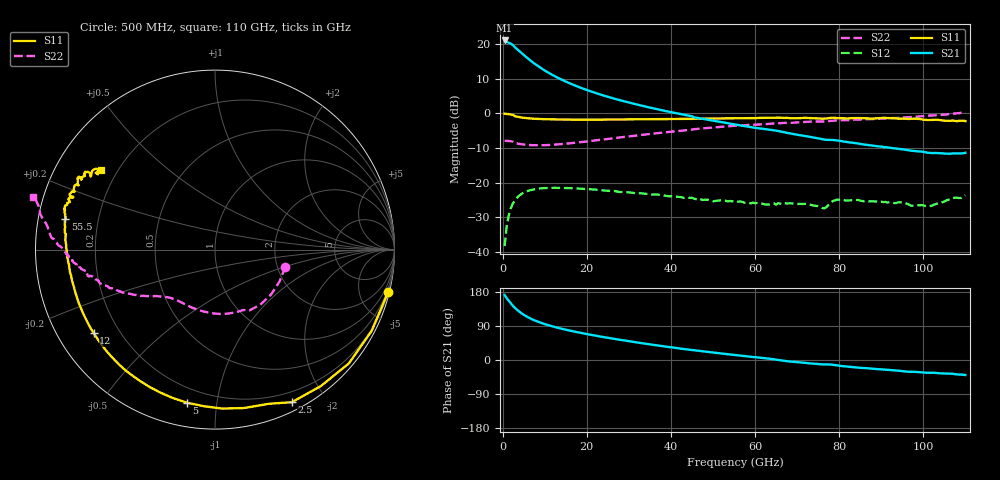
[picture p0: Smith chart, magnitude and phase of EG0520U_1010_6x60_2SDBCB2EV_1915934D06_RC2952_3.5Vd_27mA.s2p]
!File name = EG0520U_1010_6x60_2SDBCB2EV_1915934D06_RC2952_3.5Vd_27mA.s2p
!Base file name = EG0520U_1010_6x60_2SDBCB2EV_1915934D06_RC2952
!Date = 8/23/2019
!Time = 1:16 PM
!Test duration(min) = 0.15
!Test = S-Parameters
!MPTS version = 8.91.5
!State File = C:\Data\PNA\20190821205423\S-Parameters_2019-08-23.sta
!Cal File =
!ComputerName = CMPE-LAB-6
!Comments =
!Attenuation = 0
!Z0 = 50
!Input Power(dBm) = -13.00
!Device ID = EG0520U_1010_6x60_2SDBCB2EV
!Row = 29
!Column = 52
!Technology = QPHT09
!Lot/Wafer = 1915934D06
!Gate Size = 360
!Mask = EG0520
!Cal Standards = GaAs BCB
!Cal Kit = EG2306
!Job Number = 20190821205423
!Device Type = FET
!set_Vg(v) = -1.500
!set_Vd(v) = 3.500
!set_Vd(mA) = 27.000
!file_name = EG0520U_1010_6x60_2SDBCB2EV_1915934D06_RC2952_3.5Vd_27mA.s2p
!Vd(V) = 3.500
!Vd(mA) = 26.913
!Vg(V) = -0.566
!Vg(mA) = -0.004
# GHz  S  DB  R  50
!%	Freq(GHz)  s11(dB)  s11(deg)  s21(dB)  s21(deg)  s12(dB)  s12(deg)  s22(dB)  s22(deg)
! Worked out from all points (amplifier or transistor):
!   220 points, 500 MHz to 110 GHz, reference 50 ohm
!   highest |S21| = 21.1 dB at 500 MHz (marker M1)
!   |S21| within 3 dB of that: start of sweep to 3.928 GHz
!   unconditionally stable (mu >= 1): 33.36 GHz to 102 GHz
!   at 18.5 GHz: K = 0.53, MSG = 14.6 dB, |S12| = -21.7 dB
!   at 55.5 GHz: K = 1.48, MAG = 6.9 dB, |S12| = -25.3 dB
!   at 110 GHz: K = -2.04, MSG = 6.1 dB, |S12| = -23.6 dB
!   S11 on the Smith chart (normalised r, x): 500 MHz: 0.24, -8.22; 2.5 GHz: 0.09, -1.62; 5 GHz: 0.12, -0.83; 12 GHz: 0.11, -0.31; 55.5 GHz: 0.08, +0.10; 110 GHz: 0.14, +0.31
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0.5  -0.06 -13.9  21.10 171.5  -38.35 81.1  -7.88 -13.7
1  -0.15 -27.5  20.73 163.1  -32.56 74.0  -7.94 -26.3
1.5  -0.18 -40.4  20.41 156.1  -29.37 66.9  -7.95 -38.5
2  -0.33 -52.2  20.15 148.8  -27.34 60.2  -8.02 -50.6
2.5  -0.43 -63.3  19.74 142.5  -25.93 54.5  -8.19 -60.5
3  -0.82 -70.8  19.07 137.2  -25.09 50.1  -8.58 -64.6
3.5  -0.94 -79.5  18.56 132.1  -24.31 45.7  -8.70 -72.3
4.5  -1.16 -94.2  17.48 123.4  -23.25 38.1  -8.88 -85.6
5  -1.24 -100.4  16.95 119.7  -22.90 35.0  -8.97 -91.0
6  -1.38 -111.0  15.93 113.0  -22.39 29.8  -9.10 -100.1
7.5  -1.52 -123.3  14.50 105.1  -21.93 23.6  -9.17 -110.2
9.5  -1.63 -134.9  12.83 96.8  -21.59 17.6  -9.18 -118.9
12  -1.72 -145.5  11.04 88.3  -21.49 12.1  -9.05 -126.5
15  -1.77 -154.3  9.23 80.0  -21.56 7.3  -8.75 -132.5
19  -1.79 -162.5  7.24 70.6  -21.76 2.6  -8.22 -137.5
27  -1.74 -172.9  4.13 54.9  -22.48 -2.9  -7.06 -144.2
37  -1.62 179.1  1.17 38.1  -23.44 -4.7  -5.66 -151.2
55.5  -1.40 168.4  -3.23 12.8  -25.26 -3.7  -3.51 -163.7
73.5  -1.36 160.2  -6.87 -9.4  -26.49 -3.5  -2.33 -172.8
92  -1.35 151.9  -9.91 -26.5  -25.65 -13.7  -1.39 179.3
101  -1.90 149.6  -11.35 -33.8  -26.88 -13.2  -0.67 174.4
110  -2.20 145.1  -11.37 -39.7  -23.63 -13.2  0.46 163.7
